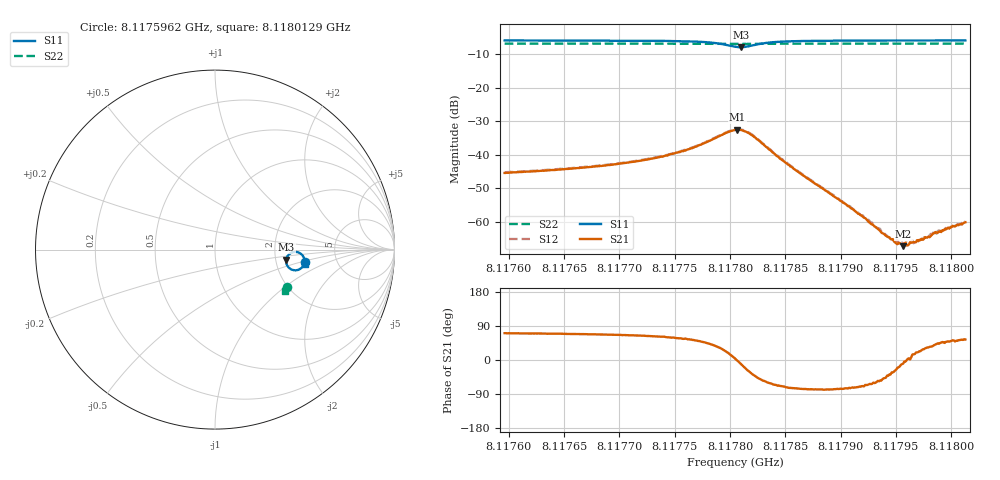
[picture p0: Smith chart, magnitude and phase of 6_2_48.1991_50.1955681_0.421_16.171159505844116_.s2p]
#  HZ  S  RI  R  50.00
! Rohde & Schwarz Vector Network Analyzer
! Rohde-Schwarz,ZNB20-2Port,1311601062101988,3.16
! Created: UTC 3/20/2024, 11:36:14 AM
! freq[Hz]  re:S11  im:S11  re:S21  im:S21  re:S12  im:S12  re:S22  im:S22
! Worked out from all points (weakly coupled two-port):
!   401 points, 8.1175962 GHz to 8.1180129 GHz, reference 50 ohm
!   highest |S21| = -32.60 dB at 8.1178066 GHz (marker M1); lowest = -67.3 dB at 8.1179566 GHz (marker M2)
!   lowest |S11| = -7.9 dB at 8.1178097 GHz (marker M3), VSWR 2.34, Z = 114 - j15.3 ohm
!   |S11| at or under -10 dB: nowhere
!   |S22| runs from -7.0 to -6.9 dB; largest |S21 - S12| = 0.00062
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8.11759617e9  0.5004 -0.0672  0.00175 0.00503  0.00186 0.00515  0.4017 -0.2085
8.11766598e9  0.4979 -0.0768  0.00235 0.00591  0.00247 0.00602  0.3994 -0.213
8.11770973e9  0.4942 -0.0856  0.00323 0.00697  0.00329 0.00707  0.3978 -0.2159
8.11773578e9  0.4898 -0.0932  0.00432 0.00804  0.00446 0.00819  0.3967 -0.2177
8.11776495e9  0.4771 -0.106  0.00729 0.01  0.0076 0.0101  0.3951 -0.2198
8.11779099e9  0.4367 -0.1141  0.0162 0.0101  0.0167 0.0101  0.3924 -0.2213
8.11780454e9  0.3993 -0.082  0.0233 0.00164  0.0237 0.00146  0.3906 -0.2201
8.11780662e9  0.3966 -0.0721  0.0234 -0.000604  0.0239 -0.000783  0.3905 -0.2198
8.11780975e9  0.3966 -0.0563  0.023 -0.00412  0.0233 -0.00429  0.3907 -0.2192
8.11782017e9  0.4254 -0.0179  0.0154 -0.0118  0.0157 -0.0121  0.3924 -0.2185
8.117841e9  0.4779 -0.0227  0.00416 -0.00916  0.00407 -0.00945  0.394 -0.2206
8.11787434e9  0.4959 -0.047  0.000858 -0.00386  0.000844 -0.00395  0.3934 -0.224
8.11791289e9  0.4991 -0.0608  0.000436 -0.00138  0.000459 -0.00141  0.3923 -0.2268
8.11794414e9  0.4995 -0.0675  0.000459 -0.000358  0.000438 -0.000379  0.3912 -0.229
8.11795039e9  0.4994 -0.0687  0.000429 -0.000201  0.000456 -0.00024  0.3909 -0.2294
8.11795664e9  0.4995 -0.0698  0.000424 -7.06e-05  0.000445 -7.67e-05  0.3907 -0.2297
8.11796185e9  0.4993 -0.0707  0.000454 3.37e-05  0.00046 2.75e-06  0.3906 -0.2302
8.1179681e9  0.4995 -0.0717  0.000462 0.000163  0.000493 0.000153  0.3903 -0.2305
8.11797956e9  0.4993 -0.0735  0.000499 0.000328  0.00049 0.000339  0.3899 -0.2313
8.11798477e9  0.4992 -0.0742  0.000519 0.000427  0.00049 0.000397  0.3898 -0.2316
8.11798998e9  0.4993 -0.0748  0.000507 0.000506  0.000532 0.000497  0.3897 -0.2319
8.1180129e9  0.499 -0.0778  0.000574 0.00079  0.000605 0.000819  0.3889 -0.2333
